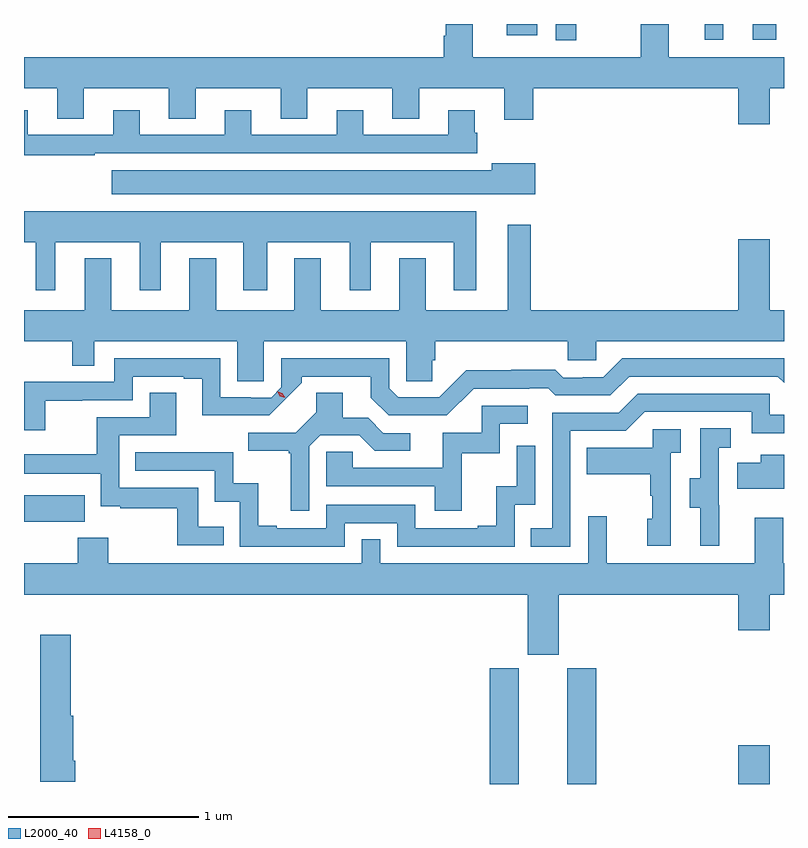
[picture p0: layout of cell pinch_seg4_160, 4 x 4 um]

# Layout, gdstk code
import gdstk
lib = gdstk.Library(unit=1e-6, precision=1e-09)
def R(c, l, rs):  # rectangles x0, y0, x1, y1
    for r in rs: c.add(gdstk.rectangle(r[:2], r[2:], *l))
def P(c, l, *ps):  # polygons
    for p in ps: c.add(gdstk.Polygon(p, *l))
L2000_40 = (2000, 40)
L4158_0 = (4158, 0)

pinch_seg4_160 = lib.new_cell('pinch_seg4_160')
R(pinch_seg4_160, L2000_40, [(1122.74,791.827,1122.892,792.435), (1123.148,791.827,1123.301,792.435), (1124.048,791.827,1124.212,792.031), (1123.086,795.741,1123.195,795.827), (1123.871,795.744,1123.969,795.827), (1124.124,795.744,1124.248,795.827), (1122.83,795.768,1122.988,795.827)])
P(pinch_seg4_160, L2000_40, [(1124.212,795.488),(1124.288,795.488),(1124.288,795.652),(1123.681,795.652),(1123.681,795.827),(1123.534,795.827),(1123.534,795.652),(1122.649,795.652),(1122.649,795.827),(1122.509,795.827),(1122.509,795.764),(1122.497,795.764),(1122.497,795.652),(1120.288,795.652),(1120.288,795.488),(1120.463,795.488),(1120.463,795.328),(1120.603,795.328),(1120.603,795.488),(1121.051,795.488),(1121.051,795.328),(1121.191,795.328),(1121.191,795.488),(1121.639,795.488),(1121.639,795.328),(1121.779,795.328),(1121.779,795.488),(1122.227,795.488),(1122.227,795.328),(1122.367,795.328),(1122.367,795.488),(1122.815,795.488),(1122.815,795.324),(1122.968,795.324),(1122.968,795.488),(1124.048,795.488),(1124.048,795.3),(1124.212,795.3)],
  [(1120.661,795.147),(1122.674,795.147),(1122.674,795.255),(1122.661,795.255),(1122.661,795.373),(1122.521,795.373),(1122.521,795.243),(1122.073,795.243),(1122.073,795.373),(1121.933,795.373),(1121.933,795.243),(1121.485,795.243),(1121.485,795.373),(1121.345,795.373),(1121.345,795.243),(1120.897,795.243),(1120.897,795.373),(1120.757,795.373),(1120.757,795.243),(1120.309,795.243),(1120.309,795.373),(1120.288,795.373),(1120.288,795.135),(1120.661,795.135)],
  [(1122.979,795.094),(1122.749,795.094),(1122.749,795.058),(1120.749,795.058),(1120.749,794.93),(1122.979,794.93)],
  [(1120.453,794.678),(1120.898,794.678),(1120.898,794.427),(1121.008,794.427),(1121.008,794.678),(1121.441,794.678),(1121.441,794.427),(1121.569,794.427),(1121.569,794.678),(1122.002,794.678),(1122.002,794.427),(1122.112,794.427),(1122.112,794.678),(1122.551,794.678),(1122.551,794.427),(1122.667,794.427),(1122.667,794.842),(1120.288,794.842),(1120.288,794.678),(1120.349,794.678),(1120.349,794.427),(1120.453,794.427)],
  [(1121.551,794.156),(1122.3,794.156),(1122.3,793.948),(1122.437,793.948),(1122.437,794.058),(1122.452,794.058),(1122.452,794.156),(1123.149,794.156),(1123.149,794.058),(1123.299,794.058),(1123.299,794.156),(1124.288,794.156),(1124.288,794.32),(1124.212,794.32),(1124.212,794.695),(1124.048,794.695),(1124.048,794.32),(1122.955,794.32),(1122.955,794.77),(1122.833,794.77),(1122.833,794.32),(1122.403,794.32),(1122.403,794.593),(1122.263,794.593),(1122.263,794.32),(1121.851,794.32),(1121.851,794.593),(1121.711,794.593),(1121.711,794.32),(1121.299,794.32),(1121.299,794.593),(1121.159,794.593),(1121.159,794.32),(1120.747,794.32),(1120.747,794.593),(1120.607,794.593),(1120.607,794.32),(1120.288,794.32),(1120.288,794.156),(1120.543,794.156),(1120.543,794.029),(1120.659,794.029),(1120.659,794.156),(1121.411,794.156),(1121.411,793.948),(1121.551,793.948)],
  [(1120.399,793.843),(1120.595,793.843),(1120.595,793.848),(1120.86,793.848),(1120.86,793.971),(1121.129,793.971),(1121.129,793.959),(1121.225,793.959),(1121.225,793.767),(1121.579,793.767),(1121.751,793.939),(1121.751,793.971),(1122.113,793.971),(1122.113,793.861),(1122.207,793.767),(1122.513,793.767),(1122.654,793.908),(1122.947,793.908),(1122.947,793.911),(1123.046,793.911),(1123.085,793.872),(1123.374,793.872),(1123.473,793.971),(1124.256,793.971),(1124.288,793.939),(1124.288,794.067),(1123.436,794.067),(1123.337,793.968),(1123.23,793.968),(1123.23,793.965),(1123.127,793.965),(1123.085,794.008),(1122.852,794.008),(1122.852,794.005),(1122.616,794.005),(1122.474,793.863),(1122.258,793.863),(1122.21,793.911),(1122.21,794.067),(1121.643,794.067),(1121.643,793.914),(1121.589,793.86),(1121.482,793.86),(1121.482,793.863),(1121.322,793.863),(1121.322,794.067),(1120.764,794.067),(1120.764,793.944),(1120.288,793.944),(1120.288,793.688),(1120.399,793.688)],
  [(1121.79,793.605),(1121.847,793.662),(1122.053,793.662),(1122.134,793.581),(1122.322,793.581),(1122.322,793.674),(1122.18,793.674),(1122.1,793.754),(1121.965,793.754),(1121.965,793.886),(1121.825,793.886),(1121.825,793.784),(1121.718,793.677),(1121.469,793.677),(1121.469,793.58),(1121.682,793.58),(1121.682,793.569),(1121.693,793.569),(1121.693,793.266),(1121.79,793.266)],
  [(1121.339,793.18),(1121.205,793.18),(1121.205,793.386),(1120.788,793.386),(1120.788,793.662),(1121.089,793.662),(1121.089,793.886),(1120.949,793.886),(1120.949,793.758),(1120.672,793.758),(1120.672,793.562),(1120.288,793.562),(1120.288,793.461),(1120.692,793.461),(1120.692,793.289),(1120.795,793.289),(1120.795,793.278),(1121.094,793.278),(1121.094,793.083),(1121.339,793.083)],
  [(1123.164,793.686),(1123.455,793.686),(1123.554,793.785),(1124.118,793.785),(1124.118,793.674),(1124.288,793.674),(1124.288,793.77),(1124.214,793.77),(1124.214,793.881),(1123.517,793.881),(1123.418,793.782),(1123.068,793.782),(1123.068,793.173),(1122.955,793.173),(1122.955,793.077),(1123.164,793.077)],
  [(1122.593,793.569),(1122.792,793.569),(1122.792,793.722),(1122.94,793.722),(1122.94,793.818),(1122.696,793.818),(1122.696,793.677),(1122.491,793.677),(1122.491,793.491),(1122.017,793.491),(1122.017,793.575),(1121.88,793.575),(1121.88,793.395),(1122.449,793.395),(1122.449,793.266),(1122.593,793.266)],
  [(1123.946,793.293),(1123.944,793.293),(1123.944,793.597),(1124.008,793.597),(1124.008,793.7),(1123.848,793.7),(1123.848,793.437),(1123.793,793.437),(1123.793,793.282),(1123.847,793.282),(1123.847,793.08),(1123.946,793.08)],
  [(1123.692,793.571),(1123.744,793.571),(1123.744,793.695),(1123.596,793.695),(1123.596,793.597),(1123.249,793.597),(1123.249,793.457),(1123.584,793.457),(1123.584,793.343),(1123.594,793.343),(1123.594,793.224),(1123.568,793.224),(1123.568,793.08),(1123.692,793.08)],
  [(1121.976,793.2),(1122.252,793.2),(1122.252,793.077),(1122.87,793.077),(1122.87,793.296),(1122.978,793.296),(1122.978,793.606),(1122.882,793.606),(1122.882,793.394),(1122.773,793.394),(1122.773,793.186),(1122.677,793.186),(1122.677,793.173),(1122.348,793.173),(1122.348,793.296),(1121.88,793.296),(1121.88,793.173),(1121.617,793.173),(1121.617,793.186),(1121.521,793.186),(1121.521,793.411),(1121.388,793.411),(1121.388,793.572),(1120.873,793.572),(1120.873,793.476),(1121.292,793.476),(1121.292,793.313),(1121.424,793.313),(1121.424,793.077),(1121.976,793.077)],
  [(1124.288,793.561),(1124.165,793.561),(1124.165,793.519),(1124.041,793.519),(1124.041,793.382),(1124.288,793.382)],
  [(1120.607,793.348),(1120.393,793.348),(1120.393,793.347),(1120.288,793.347),(1120.288,793.246),(1120.289,793.246),(1120.289,793.208),(1120.607,793.208)],
  [(1123.102,792.824),(1124.048,792.824),(1124.048,792.636),(1124.212,792.636),(1124.212,792.824),(1124.288,792.824),(1124.288,792.988),(1124.283,792.988),(1124.283,793.228),(1124.135,793.228),(1124.135,792.988),(1123.355,792.988),(1123.355,793.237),(1123.257,793.237),(1123.257,792.988),(1122.162,792.988),(1122.162,793.115),(1122.066,793.115),(1122.066,792.988),(1120.731,792.988),(1120.731,793.123),(1120.571,793.123),(1120.571,792.988),(1120.288,792.988),(1120.288,792.824),(1122.938,792.824),(1122.938,792.507),(1123.102,792.507)],
  [(1120.559,791.95),(1120.546,791.95),(1120.546,792.186),(1120.534,792.186),(1120.534,792.613),(1120.373,792.613),(1120.373,791.838),(1120.559,791.838)])
P(pinch_seg4_160, L4158_0, [(1121.662,793.859),(1121.635,793.869),(1121.621,793.894),(1121.621,793.895),(1121.621,793.895),(1121.648,793.884),(1121.662,793.859),(1121.662,793.859)])

lib.write_gds('pinch_seg4_160.gds')
